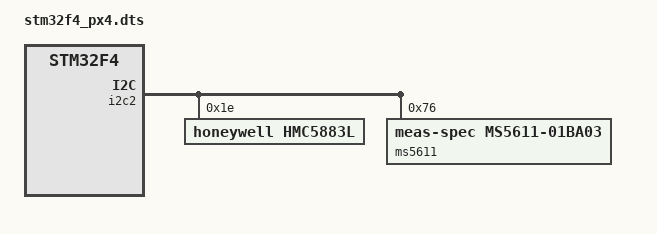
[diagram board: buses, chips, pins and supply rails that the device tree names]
/dts-v1/;
/include/ "stm32f4.dtsi"

/ {
    compatible = "pixhawk,px4fmu", "stmicro,stm32f405rg",
        "stmicro,stm32f405", "stmicro,stm32f4";
};

&i2c2 {
    hmc5883l@1E {
        compatible = "honeywell,hmc5883l", "honeywell,hmc5883";
        reg = <0x1E>;
    };

    ms5611@76 {
        compatible = "meas-spec,ms5611-01ba03";
        reg = <0x76>;
    };
};
